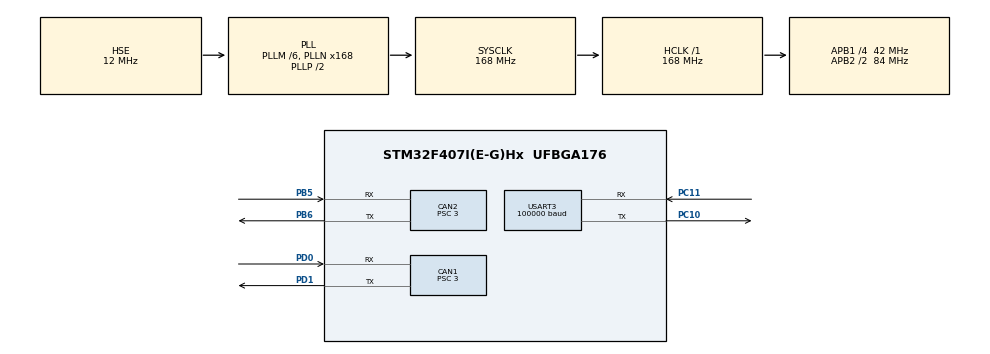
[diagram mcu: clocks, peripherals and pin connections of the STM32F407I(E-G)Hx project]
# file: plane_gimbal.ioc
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CAN1.BS1=CAN_BS1_10TQ
CAN1.BS2=CAN_BS2_3TQ
CAN1.CalculateBaudRate=1000000
CAN1.CalculateTimeBit=1000
CAN1.CalculateTimeQuantum=71.42857142857143
CAN1.Prescaler=3
CAN2.BS1=CAN_BS1_10TQ
CAN2.BS2=CAN_BS2_3TQ
CAN2.CalculateBaudRate=1000000
CAN2.CalculateTimeBit=1000
CAN2.CalculateTimeQuantum=71.42857142857143
CAN2.Prescaler=3
Dma.Request0=USART3_RX
Dma.USART3_RX.0.Direction=DMA_PERIPH_TO_MEMORY
Dma.USART3_RX.0.FIFOMode=DMA_FIFOMODE_DISABLE
Dma.USART3_RX.0.Instance=DMA1_Stream1
Dma.USART3_RX.0.MemDataAlignment=DMA_MDATAALIGN_BYTE
Dma.USART3_RX.0.MemInc=DMA_MINC_ENABLE
Dma.USART3_RX.0.Mode=DMA_CIRCULAR
Dma.USART3_RX.0.PeriphDataAlignment=DMA_PDATAALIGN_BYTE
Dma.USART3_RX.0.PeriphInc=DMA_PINC_DISABLE
Dma.USART3_RX.0.Priority=DMA_PRIORITY_VERY_HIGH
FREERTOS.Tasks01=GM6020,0,128,GM6020_task,As weak,NULL,Dynamic,NULL,NULL;DM4310,0,128,DM4310_task,As weak,NULL,Dynamic,NULL,NULL;GM3508,0,128,GM3508_task,As weak,NULL,Dynamic,NULL,NULL
Mcu.Family=STM32F4
Mcu.Name=STM32F407I(E-G)Hx
Mcu.Package=UFBGA176
NVIC.CAN1_RX0_IRQn=true\:5\:0\:false\:false\:true\:true\:true\:true\:true
NVIC.CAN2_RX0_IRQn=true\:5\:0\:false\:false\:true\:true\:true\:true\:true
NVIC.DMA1_Stream1_IRQn=true\:5\:0\:false\:false\:true\:true\:false\:true\:true
NVIC.PriorityGroup=NVIC_PRIORITYGROUP_4
NVIC.TIM8_TRG_COM_TIM14_IRQn=true\:15\:0\:false\:false\:true\:false\:false\:true\:true
NVIC.TimeBase=TIM8_TRG_COM_TIM14_IRQn
NVIC.TimeBaseIP=TIM14
NVIC.USART3_IRQn=true\:5\:0\:false\:false\:true\:true\:true\:true\:true
PA13.Mode=Serial_Wire
PA13.Signal=SYS_JTMS-SWDIO
PA14.Mode=Serial_Wire
PA14.Signal=SYS_JTCK-SWCLK
PB5.Mode=CAN_Activate
PB5.Signal=CAN2_RX
PB6.Mode=CAN_Activate
PB6.Signal=CAN2_TX
PC10.Mode=Asynchronous
PC10.Signal=USART3_TX
PC11.Mode=Asynchronous
PC11.Signal=USART3_RX
PC14-OSC32_IN.Mode=LSE-External-Oscillator
PC14-OSC32_IN.Signal=RCC_OSC32_IN
PC15-OSC32_OUT.Mode=LSE-External-Oscillator
PC15-OSC32_OUT.Signal=RCC_OSC32_OUT
PD0.Mode=CAN_Activate
PD0.Signal=CAN1_RX
PD1.Mode=CAN_Activate
PD1.Signal=CAN1_TX
PH0-OSC_IN.Mode=HSE-External-Oscillator
PH0-OSC_IN.Signal=RCC_OSC_IN
PH1-OSC_OUT.Mode=HSE-External-Oscillator
PH1-OSC_OUT.Signal=RCC_OSC_OUT
ProjectManager.HeapSize=0x200
ProjectManager.StackSize=0x400
ProjectManager.TargetToolchain=MDK-ARM V5.32
RCC.48MHZClocksFreq_Value=84000000
RCC.AHBFreq_Value=168000000
RCC.APB1CLKDivider=RCC_HCLK_DIV4
RCC.APB1Freq_Value=42000000
RCC.APB1TimFreq_Value=84000000
RCC.APB2CLKDivider=RCC_HCLK_DIV2
RCC.APB2Freq_Value=84000000
RCC.APB2TimFreq_Value=168000000
RCC.CortexFreq_Value=168000000
RCC.HCLKFreq_Value=168000000
RCC.HSE_VALUE=12000000
RCC.HSI_VALUE=16000000
RCC.PLLM=6
RCC.PLLN=168
RCC.PLLSourceVirtual=RCC_PLLSOURCE_HSE
RCC.SYSCLKFreq_VALUE=168000000
RCC.SYSCLKSource=RCC_SYSCLKSOURCE_PLLCLK
RCC.VCOOutputFreq_Value=336000000
USART3.BaudRate=100000
USART3.Parity=PARITY_EVEN
USART3.VirtualMode=VM_ASYNC
USART3.WordLength=WORDLENGTH_9B
VP_FREERTOS_VS_CMSIS_V1.Mode=CMSIS_V1
VP_SYS_VS_tim14.Mode=TIM14
board=custom

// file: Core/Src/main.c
/* USER CODE BEGIN Header */
/**
  ******************************************************************************
  * @file           : main.c
  * @brief          : Main program body
  ******************************************************************************
  * @attention
  *
  * Copyright (c) 2025 STMicroelectronics.
  * All rights reserved.
  *
  * This software is licensed under terms that can be found in the LICENSE file
  * in the root directory of this software component.
  * If no LICENSE file comes with this software, it is provided AS-IS.
  *
  ******************************************************************************
  */
/* USER CODE END Header */
#include "main.h"
#include "cmsis_os.h"
#include "can.h"
#include "dma.h"
#include "usart.h"
#include "gpio.h"

/* USER CODE BEGIN Includes */
#include "pid.h"
#include "GM6020.h"
#include "DM4310.h"
#include "bsp_can.h"
#include "DBUS.h"
#include "GM3508.h"
/* USER CODE END Includes */

/* USER CODE BEGIN PV */
uint8_t rx_data[18];
GM6020_st rc_6020;
rc_info_t rc_ctrl;
pid_v pid_velocity;
pid_a pid_angle;
DM4310_st rc_4310;
GM3508_st rc_3508[2];
/* USER CODE END PV */

void SystemClock_Config(void);
void MX_FREERTOS_Init(void);

int main(void)
{

  /* MCU Configuration--------------------------------------------------------*/

  /* Reset of all peripherals, Initializes the Flash interface and the Systick. */
  HAL_Init();

  /* Configure the system clock */
  SystemClock_Config();

  /* Initialize all configured peripherals */
  MX_GPIO_Init();
  MX_DMA_Init();
  MX_CAN1_Init();
  MX_USART3_UART_Init();
  MX_CAN2_Init();
  /* USER CODE BEGIN 2 */
  Filter_Init();
  HAL_UART_Receive_DMA(&huart3, rx_data, sizeof(rx_data));
//  pid_angle_init(&rc_3508[0].GM3508_angle, 0, 0, 0, 20000, 469, 0);                              //GM3508角度环初始化
//  pid_velocity_init(&rc_3508[0].GM3508_velocity, 0, 0, 0, 20000);                                //GM3508速度环初始化
//  pid_angle_init(&rc_3508[1].GM3508_angle, 0, 0, 0, 20000, 469, 0);                              //GM3508角度环初始化
//  pid_velocity_init(&rc_3508[1].GM3508_velocity, 0, 0, 0, 20000);                                //GM3508速度环初始化
  /* USER CODE END 2 */

  /* Call init function for freertos objects (in cmsis_os2.c) */
  MX_FREERTOS_Init();

  /* Start scheduler */
  osKernelStart();

  /* We should never get here as control is now taken by the scheduler */

  /* Infinite loop */
  while (1)
  {

  }
}

void SystemClock_Config(void)
{
  RCC_OscInitTypeDef RCC_OscInitStruct = {0};
  RCC_ClkInitTypeDef RCC_ClkInitStruct = {0};

  /** Configure the main internal regulator output voltage
  */
  __HAL_RCC_PWR_CLK_ENABLE();
  __HAL_PWR_VOLTAGESCALING_CONFIG(PWR_REGULATOR_VOLTAGE_SCALE1);

  /** Initializes the RCC Oscillators according to the specified parameters
  * in the RCC_OscInitTypeDef structure.
  */
  RCC_OscInitStruct.OscillatorType = RCC_OSCILLATORTYPE_HSE;
  RCC_OscInitStruct.HSEState = RCC_HSE_ON;
  RCC_OscInitStruct.PLL.PLLState = RCC_PLL_ON;
  RCC_OscInitStruct.PLL.PLLSource = RCC_PLLSOURCE_HSE;
  RCC_OscInitStruct.PLL.PLLM = 6;
  RCC_OscInitStruct.PLL.PLLN = 168;
  RCC_OscInitStruct.PLL.PLLP = RCC_PLLP_DIV2;
  RCC_OscInitStruct.PLL.PLLQ = 4;
  if (HAL_RCC_OscConfig(&RCC_OscInitStruct) != HAL_OK)
  {
    Error_Handler();
  }

  /** Initializes the CPU, AHB and APB buses clocks
  */
  RCC_ClkInitStruct.ClockType = RCC_CLOCKTYPE_HCLK|RCC_CLOCKTYPE_SYSCLK
                              |RCC_CLOCKTYPE_PCLK1|RCC_CLOCKTYPE_PCLK2;
  RCC_ClkInitStruct.SYSCLKSource = RCC_SYSCLKSOURCE_PLLCLK;
  RCC_ClkInitStruct.AHBCLKDivider = RCC_SYSCLK_DIV1;
  RCC_ClkInitStruct.APB1CLKDivider = RCC_HCLK_DIV4;
  RCC_ClkInitStruct.APB2CLKDivider = RCC_HCLK_DIV2;

  if (HAL_RCC_ClockConfig(&RCC_ClkInitStruct, FLASH_LATENCY_5) != HAL_OK)
  {
    Error_Handler();
  }
}

void HAL_TIM_PeriodElapsedCallback(TIM_HandleTypeDef *htim)
{
  if (htim->Instance == TIM14) {
    HAL_IncTick();
  }
}

void Error_Handler(void)
{
  __disable_irq();
  while (1)
  {
  }
}

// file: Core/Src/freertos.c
/* USER CODE BEGIN Header */
/**
  ******************************************************************************
  * File Name          : freertos.c
  * Description        : Code for freertos applications
  ******************************************************************************
  * @attention
  *
  * Copyright (c) 2025 STMicroelectronics.
  * All rights reserved.
  *
  * This software is licensed under terms that can be found in the LICENSE file
  * in the root directory of this software component.
  * If no LICENSE file comes with this software, it is provided AS-IS.
  *
  ******************************************************************************
  */
/* USER CODE END Header */

#include "FreeRTOS.h"
#include "task.h"
#include "main.h"
#include "cmsis_os.h"

osThreadId GM6020Handle;
osThreadId DM4310Handle;
osThreadId GM3508Handle;

void GM6020_task(void const * argument);
void DM4310_task(void const * argument);
void GM3508_task(void const * argument);

void MX_FREERTOS_Init(void); /* (MISRA C 2004 rule 8.1) */

/* GetIdleTaskMemory prototype (linked to static allocation support) */
void vApplicationGetIdleTaskMemory( StaticTask_t **ppxIdleTaskTCBBuffer, StackType_t **ppxIdleTaskStackBuffer, uint32_t *pulIdleTaskStackSize );

/* USER CODE BEGIN GET_IDLE_TASK_MEMORY */
static StaticTask_t xIdleTaskTCBBuffer;
static StackType_t xIdleStack[configMINIMAL_STACK_SIZE];

void vApplicationGetIdleTaskMemory( StaticTask_t **ppxIdleTaskTCBBuffer, StackType_t **ppxIdleTaskStackBuffer, uint32_t *pulIdleTaskStackSize )
{
  *ppxIdleTaskTCBBuffer = &xIdleTaskTCBBuffer;
  *ppxIdleTaskStackBuffer = &xIdleStack[0];
  *pulIdleTaskStackSize = configMINIMAL_STACK_SIZE;
  /* place for user code */
}
/* USER CODE END GET_IDLE_TASK_MEMORY */

void MX_FREERTOS_Init(void) {

  /* Create the thread(s) */
  /* definition and creation of GM6020 */
  osThreadDef(GM6020, GM6020_task, osPriorityNormal, 0, 128);
  GM6020Handle = osThreadCreate(osThread(GM6020), NULL);

  /* definition and creation of DM4310 */
  osThreadDef(DM4310, DM4310_task, osPriorityNormal, 0, 128);
  DM4310Handle = osThreadCreate(osThread(DM4310), NULL);

  /* definition and creation of GM3508 */
  osThreadDef(GM3508, GM3508_task, osPriorityNormal, 0, 128);
  GM3508Handle = osThreadCreate(osThread(GM3508), NULL);

}

__weak void GM6020_task(void const * argument)
{
  for(;;)
  {
    osDelay(1);
  }
}

__weak void DM4310_task(void const * argument)
{
  for(;;)
  {
    osDelay(1);
  }
}

__weak void GM3508_task(void const * argument)
{
  for(;;)
  {
    osDelay(1);
  }
}
